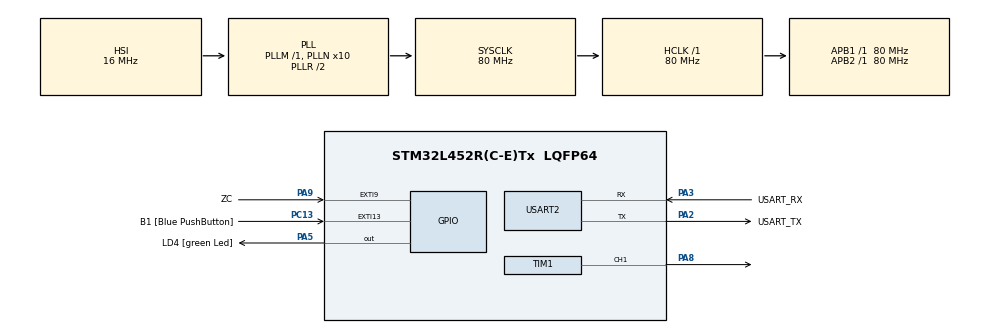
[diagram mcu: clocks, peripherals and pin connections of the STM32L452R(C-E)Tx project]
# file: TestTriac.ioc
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Mcu.Family=STM32L4
Mcu.Name=STM32L452R(C-E)Tx
Mcu.Package=LQFP64
NVIC.EXTI9_5_IRQn=true\:0\:0\:false\:false\:true\:true\:true\:true
NVIC.PriorityGroup=NVIC_PRIORITYGROUP_4
PA13\ (JTMS/SWDIO).GPIO_Label=TMS
PA13\ (JTMS/SWDIO).Mode=Serial_Wire
PA13\ (JTMS/SWDIO).Signal=SYS_JTMS-SWDIO
PA14\ (JTCK/SWCLK).GPIO_Label=TCK
PA14\ (JTCK/SWCLK).Mode=Serial_Wire
PA14\ (JTCK/SWCLK).Signal=SYS_JTCK-SWCLK
PA2.GPIO_Label=USART_TX
PA2.GPIO_Mode=GPIO_MODE_AF_PP
PA2.GPIO_PuPd=GPIO_NOPULL
PA2.GPIO_Speed=GPIO_SPEED_FREQ_VERY_HIGH
PA2.Mode=Asynchronous
PA2.Signal=USART2_TX
PA3.GPIO_Label=USART_RX
PA3.GPIO_Mode=GPIO_MODE_AF_PP
PA3.GPIO_PuPd=GPIO_NOPULL
PA3.GPIO_Speed=GPIO_SPEED_FREQ_VERY_HIGH
PA3.Mode=Asynchronous
PA3.Signal=USART2_RX
PA5.GPIO_Label=LD4 [green Led]
PA5.GPIO_ModeDefaultOutputPP=GPIO_MODE_OUTPUT_PP
PA5.GPIO_PuPd=GPIO_NOPULL
PA5.GPIO_Speed=GPIO_SPEED_FREQ_LOW
PA5.Signal=GPIO_Output
PA8.Signal=S_TIM1_CH1
PA9.GPIO_Label=ZC
PA9.GPIO_ModeDefaultEXTI=GPIO_MODE_IT_RISING_FALLING
PA9.Signal=GPXTI9
PB3\ (JTDO/TRACESWO).GPIO_Label=SWO
PB3\ (JTDO/TRACESWO).Signal=SYS_JTDO-SWO
PC13.GPIO_Label=B1 [Blue PushButton]
PC13.GPIO_ModeDefaultEXTI=GPIO_MODE_IT_FALLING
PC13.GPIO_PuPd=GPIO_NOPULL
PC13.Signal=GPXTI13
PC14-OSC32_IN\ (PC14).Mode=LSE-External-Oscillator
PC14-OSC32_IN\ (PC14).Signal=RCC_OSC32_IN
PC15-OSC32_OUT\ (PC15).Mode=LSE-External-Oscillator
PC15-OSC32_OUT\ (PC15).Signal=RCC_OSC32_OUT
PH0-OSC_IN\ (PH0).Signal=RCC_OSC_IN
PH1-OSC_OUT\ (PH1).Signal=RCC_OSC_OUT
ProjectManager.HeapSize=0x200
ProjectManager.StackSize=0x400
ProjectManager.TargetToolchain=STM32CubeIDE
RCC.ADCFreq_Value=64000000
RCC.AHBFreq_Value=80000000
RCC.APB1Freq_Value=80000000
RCC.APB1TimFreq_Value=80000000
RCC.APB2Freq_Value=80000000
RCC.APB2TimFreq_Value=80000000
RCC.CortexFreq_Value=80000000
RCC.HCLKFreq_Value=80000000
RCC.HSE_VALUE=8000000
RCC.HSI48_VALUE=48000000
RCC.HSI_VALUE=16000000
RCC.MSI_VALUE=4000000
RCC.PLLN=10
RCC.PLLSourceVirtual=RCC_PLLSOURCE_HSI
RCC.PREFETCH_ENABLE=1
RCC.SYSCLKFreq_VALUE=80000000
RCC.SYSCLKSource=RCC_SYSCLKSOURCE_PLLCLK
RCC.USBFreq_Value=64000000
RCC.VCOOutputFreq_Value=160000000
SH.S_TIM1_CH1.0=TIM1_CH1,Output Compare1 CH1
TIM1.AutoReloadPreload=TIM_AUTORELOAD_PRELOAD_DISABLE
TIM1.Channel-Output\ Compare1\ CH1=TIM_CHANNEL_1
TIM1.Period=9900-1
TIM1.Prescaler=80-1
TIM1.Pulse-Output\ Compare1\ CH1=2500-1
TIM1.TIM_MasterOutputTrigger=TIM_TRGO_UPDATE
TIM1.TIM_MasterOutputTrigger2=TIM_TRGO2_UPDATE
USART2.VirtualMode-Asynchronous=VM_ASYNC
VP_TIM1_VS_OPM.Mode=OPM_bit
board=NUCLEO-L452RE

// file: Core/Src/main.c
/* USER CODE BEGIN Header */
/**
  ******************************************************************************
  * @file           : main.c
  * @brief          : Main program body
  ******************************************************************************
  * @attention
  *
  * Copyright (c) 2022 STMicroelectronics.
  * All rights reserved.
  *
  * This software is licensed under terms that can be found in the LICENSE file
  * in the root directory of this software component.
  * If no LICENSE file comes with this software, it is provided AS-IS.
  *
  ******************************************************************************
  */
/* USER CODE END Header */
#include "main.h"

/* USER CODE BEGIN PM */
uint16_t alpha_lut[] = { 10000, 9465, 9325, 9227, 9148, 9082, 9024, 8972, 8924, 8880, 8840, 8801,
8765, 8731, 8699, 8668, 8638, 8610, 8582, 8556, 8530, 8505, 8481, 8458, 8435, 8413, 8391, 8370,
8350, 8330, 8310, 8291, 8272, 8253, 8235, 8217, 8199, 8182, 8165, 8148, 8132, 8116, 8100, 8084,
8069, 8053, 8038, 8023, 8009, 7994, 7980, 7966, 7952, 7938, 7924, 7911, 7897, 7884, 7871, 7858,
7845, 7833, 7820, 7808, 7795, 7783, 7771, 7759, 7747, 7735, 7724, 7712, 7701, 7689, 7678, 7667,
7656, 7645, 7634, 7623, 7612, 7601, 7591, 7580, 7569, 7559, 7549, 7538, 7528, 7518, 7508, 7498,
7488, 7478, 7468, 7458, 7449, 7439, 7429, 7420, 7410, 7401, 7392, 7382, 7373, 7364, 7355, 7345,
7336, 7327, 7318, 7309, 7300, 7292, 7283, 7274, 7265, 7256, 7248, 7239, 7231, 7222, 7214, 7205,
7197, 7188, 7180, 7172, 7163, 7155, 7147, 7139, 7131, 7122, 7114, 7106, 7098, 7090, 7082, 7074,
7066, 7059, 7051, 7043, 7035, 7027, 7020, 7012, 7004, 6997, 6989, 6982, 6974, 6966, 6959, 6951,
6944, 6936, 6929, 6922, 6914, 6907, 6900, 6892, 6885, 6878, 6871, 6863, 6856, 6849, 6842, 6835,
6828, 6821, 6814, 6806, 6799, 6792, 6785, 6778, 6772, 6765, 6758, 6751, 6744, 6737, 6730, 6723,
6717, 6710, 6703, 6696, 6690, 6683, 6676, 6670, 6663, 6656, 6650, 6643, 6636, 6630, 6623, 6617,
6610, 6604, 6597, 6591, 6584, 6578, 6571, 6565, 6558, 6552, 6545, 6539, 6533, 6526, 6520, 6514,
6507, 6501, 6495, 6488, 6482, 6476, 6470, 6463, 6457, 6451, 6445, 6439, 6432, 6426, 6420, 6414,
6408, 6402, 6396, 6390, 6383, 6377, 6371, 6365, 6359, 6353, 6347, 6341, 6335, 6329, 6323, 6317,
6311, 6305, 6299, 6293, 6288, 6282, 6276, 6270, 6264, 6258, 6252, 6246, 6240, 6235, 6229, 6223,
6217, 6211, 6206, 6200, 6194, 6188, 6182, 6177, 6171, 6165, 6160, 6154, 6148, 6142, 6137, 6131,
6125, 6120, 6114, 6108, 6103, 6097, 6091, 6086, 6080, 6074, 6069, 6063, 6058, 6052, 6046, 6041,
6035, 6030, 6024, 6019, 6013, 6008, 6002, 5996, 5991, 5985, 5980, 5974, 5969, 5963, 5958, 5952,
5947, 5942, 5936, 5931, 5925, 5920, 5914, 5909, 5903, 5898, 5893, 5887, 5882, 5876, 5871, 5866,
5860, 5855, 5849, 5844, 5839, 5833, 5828, 5823, 5817, 5812, 5807, 5801, 5796, 5791, 5785, 5780,
5775, 5769, 5764, 5759, 5753, 5748, 5743, 5738, 5732, 5727, 5722, 5717, 5711, 5706, 5701, 5695,
5690, 5685, 5680, 5675, 5669, 5664, 5659, 5654, 5648, 5643, 5638, 5633, 5628, 5622, 5617, 5612,
5607, 5602, 5596, 5591, 5586, 5581, 5576, 5571, 5565, 5560, 5555, 5550, 5545, 5540, 5535, 5529,
5524, 5519, 5514, 5509, 5504, 5499, 5493, 5488, 5483, 5478, 5473, 5468, 5463, 5458, 5453, 5447,
5442, 5437, 5432, 5427, 5422, 5417, 5412, 5407, 5402, 5397, 5391, 5386, 5381, 5376, 5371, 5366,
5361, 5356, 5351, 5346, 5341, 5336, 5331, 5326, 5321, 5316, 5310, 5305, 5300, 5295, 5290, 5285,
5280, 5275, 5270, 5265, 5260, 5255, 5250, 5245, 5240, 5235, 5230, 5225, 5220, 5215, 5210, 5205,
5200, 5195, 5190, 5185, 5180, 5175, 5170, 5165, 5160, 5155, 5150, 5145, 5140, 5135, 5130, 5125,
5120, 5115, 5110, 5105, 5100, 5095, 5090, 5085, 5080, 5075, 5070, 5065, 5060, 5055, 5050, 5045,
5040, 5035, 5030, 5025, 5020, 5015, 5010, 5005, 5000, 4994, 4989, 4984, 4979, 4974, 4969, 4964,
4959, 4954, 4949, 4944, 4939, 4934, 4929, 4924, 4919, 4914, 4909, 4904, 4899, 4894, 4889, 4884,
4879, 4874, 4869, 4864, 4859, 4854, 4849, 4844, 4839, 4834, 4829, 4824, 4819, 4814, 4809, 4804,
4799, 4794, 4789, 4784, 4779, 4774, 4769, 4764, 4759, 4754, 4749, 4744, 4739, 4734, 4729, 4724,
4719, 4714, 4709, 4704, 4699, 4694, 4689, 4683, 4678, 4673, 4668, 4663, 4658, 4653, 4648, 4643,
4638, 4633, 4628, 4623, 4618, 4613, 4608, 4602, 4597, 4592, 4587, 4582, 4577, 4572, 4567, 4562,
4557, 4552, 4546, 4541, 4536, 4531, 4526, 4521, 4516, 4511, 4506, 4500, 4495, 4490, 4485, 4480,
4475, 4470, 4464, 4459, 4454, 4449, 4444, 4439, 4434, 4428, 4423, 4418, 4413, 4408, 4403, 4397,
4392, 4387, 4382, 4377, 4371, 4366, 4361, 4356, 4351, 4345, 4340, 4335, 4330, 4324, 4319, 4314,
4309, 4304, 4298, 4293, 4288, 4282, 4277, 4272, 4267, 4261, 4256, 4251, 4246, 4240, 4235, 4230,
4224, 4219, 4214, 4208, 4203, 4198, 4192, 4187, 4182, 4176, 4171, 4166, 4160, 4155, 4150, 4144,
4139, 4133, 4128, 4123, 4117, 4112, 4106, 4101, 4096, 4090, 4085, 4079, 4074, 4068, 4063, 4057,
4052, 4047, 4041, 4036, 4030, 4025, 4019, 4014, 4008, 4003, 3997, 3991, 3986, 3980, 3975, 3969,
3964, 3958, 3953, 3947, 3941, 3936, 3930, 3925, 3919, 3913, 3908, 3902, 3896, 3891, 3885, 3879,
3874, 3868, 3862, 3857, 3851, 3845, 3839, 3834, 3828, 3822, 3817, 3811, 3805, 3799, 3793, 3788,
3782, 3776, 3770, 3764, 3759, 3753, 3747, 3741, 3735, 3729, 3723, 3717, 3711, 3706, 3700, 3694,
3688, 3682, 3676, 3670, 3664, 3658, 3652, 3646, 3640, 3634, 3628, 3622, 3616, 3609, 3603, 3597,
3591, 3585, 3579, 3573, 3567, 3560, 3554, 3548, 3542, 3536, 3529, 3523, 3517, 3511, 3504, 3498,
3492, 3485, 3479, 3473, 3466, 3460, 3454, 3447, 3441, 3434, 3428, 3421, 3415, 3408, 3402, 3395,
3389, 3382, 3376, 3369, 3363, 3356, 3349, 3343, 3336, 3329, 3323, 3316, 3309, 3303, 3296, 3289,
3282, 3276, 3269, 3262, 3255, 3248, 3241, 3234, 3227, 3221, 3214, 3207, 3200, 3193, 3185, 3178,
3171, 3164, 3157, 3150, 3143, 3136, 3128, 3121, 3114, 3107, 3099, 3092, 3085, 3077, 3070, 3063,
3055, 3048, 3040, 3033, 3025, 3017, 3010, 3002, 2995, 2987, 2979, 2972, 2964, 2956, 2948, 2940,
2933, 2925, 2917, 2909, 2901, 2893, 2885, 2877, 2868, 2860, 2852, 2844, 2836, 2827, 2819, 2811,
2802, 2794, 2785, 2777, 2768, 2760, 2751, 2743, 2734, 2725, 2716, 2707, 2699, 2690, 2681, 2672,
2663, 2654, 2644, 2635, 2626, 2617, 2607, 2598, 2589, 2579, 2570, 2560, 2550, 2541, 2531, 2521,
2511, 2501, 2491, 2481, 2471, 2461, 2450, 2440, 2430, 2419, 2408, 2398, 2387, 2376, 2365, 2354,
2343, 2332, 2321, 2310, 2298, 2287, 2275, 2264, 2252, 2240, 2228, 2216, 2204, 2191, 2179, 2166,
2154, 2141, 2128, 2115, 2102, 2088, 2075, 2061, 2047, 2033, 2019, 2005, 1990, 1976, 1961, 1946,
1930, 1915, 1899, 1883, 1867, 1851, 1834, 1817, 1800, 1782, 1764, 1746, 1727, 1708, 1689, 1669,
1649, 1629, 1608, 1586, 1564, 1541, 1518, 1494, 1469, 1443, 1417, 1389, 1361, 1331, 1300, 1268,
1234, 1198, 1159, 1119, 1075, 1027, 975, 917, 851, 772, 674, 534, 0 };

#define TRIAC_PULSE_WIDTH  100  // Duration of TRIAC trigger pulse in �s

void timer1_init( void )
{
   __HAL_RCC_TIM1_CLK_ENABLE(); // Enable Timer 1 clock
   TIM1->CR1   = 0x0088;        // Auto-reload, One-Pulse-Mode
   TIM1->CR2   = 0x0000;        // Idle-state configuration
   TIM1->SMCR  = 0x0066;        // Trigger-Mode, Timer input 2
   TIM1->DIER  = 0x0000;        // Disable interrupts
   TIM1->SR    = 0x0000;        // Clear status register
   TIM1->EGR   = 0x0000;        // Clear event generation register
   TIM1->CCMR1 = 0x0178;        // OC1: PWM2-Mode, Preload, IC2: IC2 on TI2
   TIM1->CCMR2 = 0x0000;        // OC3/OC4, IC3/IC4 off
   TIM1->CCER  = 0x00A1;        // OC1: On, AH; IC2: On, Both edges
   TIM1->CNT   = 0;             // Clear timer 1 counter
   TIM1->PSC   = 168-1;         // Set prescaler to 168
   TIM1->ARR   = 0x0000;        // Initialize Auto-reload register
   TIM1->RCR   = 0x0000;        // Clear repetition counter
   TIM1->CCR1  = 0x0000;        // Initialize Capture/Compare register 1
   TIM1->CCR2  = 0x0000;        // Clear Capture/Compare register 2
   TIM1->CCR3  = 0x0000;        // Clear Capture/Compare register 3
   TIM1->CCR4  = 0x0000;        // Clear Capture/Compare register 4
   TIM1->BDTR  = 0x8000;        // Main output enable
   TIM1->DCR   = 0x0000;        // Clear DMA configuration (DMA not needed)
   // TIM1->DMAR = ......;      // DO NOT WRITE TO THIS REGISTER!
   TIM1->CR1  |= 0x0001;        // Timer 1 Enable
}

void gpio_init( void )
{
   __HAL_RCC_GPIOE_CLK_ENABLE();    // Enable GPIOE clock
   GPIOE->MODER   = 0x00880000;     // Enable PE9/PE11 alternate function mode
   GPIOE->AFR[1]  = 0x00001010;     // Select PE9/PE11 alternate function AF1
   GPIOE->AFR[0]  = 0x00000000;     // Clear AFRL
   GPIOE->OTYPER  = 0x00000000;     // Set all outputs to push-pull mode (default)
   GPIOE->OSPEEDR = 0x00000000;     // Set all outputs to low-speed (default)
   GPIOE->PUPDR   = 0x00000000;     // Disable all pull-ups and pull-downs
}

void set_alpha( int alpha )
{
   TIM1->CCR1 = alpha;
   TIM1->ARR = alpha + TRIAC_PULSE_WIDTH;
}
/* USER CODE END PM */

TIM_HandleTypeDef htim1;

UART_HandleTypeDef huart2;

void SystemClock_Config(void);
static void MX_GPIO_Init(void);
static void MX_USART2_UART_Init(void);
static void MX_TIM1_Init(void);

/* USER CODE BEGIN 0 */
uint32_t globalCounter = 0;
char msg[30] = {"\0"};
/* USER CODE END 0 */

int main(void)
{
  /* USER CODE BEGIN 1 */
	int alpha, power;

  /* USER CODE END 1 */

  /* MCU Configuration--------------------------------------------------------*/

  /* Reset of all peripherals, Initializes the Flash interface and the Systick. */
  HAL_Init();

  /* Configure the system clock */
  SystemClock_Config();

  /* Initialize all configured peripherals */
  MX_GPIO_Init();
  MX_USART2_UART_Init();
  MX_TIM1_Init();
  /* USER CODE BEGIN 2 */
  HAL_TIM_OC_Start(&htim1, TIM_CHANNEL_1);

  power = 20;                   // Set output power (1000=100%)
  alpha = alpha_lut[ power ];    // Get alpha from LUT
  set_alpha( alpha );            // Generate alpha on output

char msg2[20] = "Hola Mundo\n\r";
HAL_UART_Transmit(&huart2, (uint8_t *)msg2, sizeof(msg2), 100);

  /* USER CODE END 2 */

  /* Infinite loop */
  while (1)
  {

  }
}

void SystemClock_Config(void)
{
  RCC_OscInitTypeDef RCC_OscInitStruct = {0};
  RCC_ClkInitTypeDef RCC_ClkInitStruct = {0};

  /** Configure the main internal regulator output voltage
  */
  if (HAL_PWREx_ControlVoltageScaling(PWR_REGULATOR_VOLTAGE_SCALE1) != HAL_OK)
  {
    Error_Handler();
  }

  /** Initializes the RCC Oscillators according to the specified parameters
  * in the RCC_OscInitTypeDef structure.
  */
  RCC_OscInitStruct.OscillatorType = RCC_OSCILLATORTYPE_HSI;
  RCC_OscInitStruct.HSIState = RCC_HSI_ON;
  RCC_OscInitStruct.HSICalibrationValue = RCC_HSICALIBRATION_DEFAULT;
  RCC_OscInitStruct.PLL.PLLState = RCC_PLL_ON;
  RCC_OscInitStruct.PLL.PLLSource = RCC_PLLSOURCE_HSI;
  RCC_OscInitStruct.PLL.PLLM = 1;
  RCC_OscInitStruct.PLL.PLLN = 10;
  RCC_OscInitStruct.PLL.PLLP = RCC_PLLP_DIV7;
  RCC_OscInitStruct.PLL.PLLQ = RCC_PLLQ_DIV2;
  RCC_OscInitStruct.PLL.PLLR = RCC_PLLR_DIV2;
  if (HAL_RCC_OscConfig(&RCC_OscInitStruct) != HAL_OK)
  {
    Error_Handler();
  }

  /** Initializes the CPU, AHB and APB buses clocks
  */
  RCC_ClkInitStruct.ClockType = RCC_CLOCKTYPE_HCLK|RCC_CLOCKTYPE_SYSCLK
                              |RCC_CLOCKTYPE_PCLK1|RCC_CLOCKTYPE_PCLK2;
  RCC_ClkInitStruct.SYSCLKSource = RCC_SYSCLKSOURCE_PLLCLK;
  RCC_ClkInitStruct.AHBCLKDivider = RCC_SYSCLK_DIV1;
  RCC_ClkInitStruct.APB1CLKDivider = RCC_HCLK_DIV1;
  RCC_ClkInitStruct.APB2CLKDivider = RCC_HCLK_DIV1;

  if (HAL_RCC_ClockConfig(&RCC_ClkInitStruct, FLASH_LATENCY_4) != HAL_OK)
  {
    Error_Handler();
  }
}

static void MX_TIM1_Init(void)
{

  TIM_MasterConfigTypeDef sMasterConfig = {0};
  TIM_OC_InitTypeDef sConfigOC = {0};
  TIM_BreakDeadTimeConfigTypeDef sBreakDeadTimeConfig = {0};

  htim1.Instance = TIM1;
  htim1.Init.Prescaler = 80-1;
  htim1.Init.CounterMode = TIM_COUNTERMODE_UP;
  htim1.Init.Period = 9900-1;
  htim1.Init.ClockDivision = TIM_CLOCKDIVISION_DIV1;
  htim1.Init.RepetitionCounter = 0;
  htim1.Init.AutoReloadPreload = TIM_AUTORELOAD_PRELOAD_DISABLE;
  if (HAL_TIM_OC_Init(&htim1) != HAL_OK)
  {
    Error_Handler();
  }
  if (HAL_TIM_OnePulse_Init(&htim1, TIM_OPMODE_SINGLE) != HAL_OK)
  {
    Error_Handler();
  }
  sMasterConfig.MasterOutputTrigger = TIM_TRGO_UPDATE;
  sMasterConfig.MasterOutputTrigger2 = TIM_TRGO2_UPDATE;
  sMasterConfig.MasterSlaveMode = TIM_MASTERSLAVEMODE_DISABLE;
  if (HAL_TIMEx_MasterConfigSynchronization(&htim1, &sMasterConfig) != HAL_OK)
  {
    Error_Handler();
  }
  sConfigOC.OCMode = TIM_OCMODE_TIMING;
  sConfigOC.Pulse = 2500-1;
  sConfigOC.OCPolarity = TIM_OCPOLARITY_HIGH;
  sConfigOC.OCNPolarity = TIM_OCNPOLARITY_HIGH;
  sConfigOC.OCFastMode = TIM_OCFAST_DISABLE;
  sConfigOC.OCIdleState = TIM_OCIDLESTATE_RESET;
  sConfigOC.OCNIdleState = TIM_OCNIDLESTATE_RESET;
  if (HAL_TIM_OC_ConfigChannel(&htim1, &sConfigOC, TIM_CHANNEL_1) != HAL_OK)
  {
    Error_Handler();
  }
  sBreakDeadTimeConfig.OffStateRunMode = TIM_OSSR_DISABLE;
  sBreakDeadTimeConfig.OffStateIDLEMode = TIM_OSSI_DISABLE;
  sBreakDeadTimeConfig.LockLevel = TIM_LOCKLEVEL_OFF;
  sBreakDeadTimeConfig.DeadTime = 0;
  sBreakDeadTimeConfig.BreakState = TIM_BREAK_DISABLE;
  sBreakDeadTimeConfig.BreakPolarity = TIM_BREAKPOLARITY_HIGH;
  sBreakDeadTimeConfig.BreakFilter = 0;
  sBreakDeadTimeConfig.Break2State = TIM_BREAK2_DISABLE;
  sBreakDeadTimeConfig.Break2Polarity = TIM_BREAK2POLARITY_HIGH;
  sBreakDeadTimeConfig.Break2Filter = 0;
  sBreakDeadTimeConfig.AutomaticOutput = TIM_AUTOMATICOUTPUT_DISABLE;
  if (HAL_TIMEx_ConfigBreakDeadTime(&htim1, &sBreakDeadTimeConfig) != HAL_OK)
  {
    Error_Handler();
  }
  HAL_TIM_MspPostInit(&htim1);

}

static void MX_USART2_UART_Init(void)
{

  huart2.Instance = USART2;
  huart2.Init.BaudRate = 115200;
  huart2.Init.WordLength = UART_WORDLENGTH_8B;
  huart2.Init.StopBits = UART_STOPBITS_1;
  huart2.Init.Parity = UART_PARITY_NONE;
  huart2.Init.Mode = UART_MODE_TX_RX;
  huart2.Init.HwFlowCtl = UART_HWCONTROL_NONE;
  huart2.Init.OverSampling = UART_OVERSAMPLING_16;
  huart2.Init.OneBitSampling = UART_ONE_BIT_SAMPLE_DISABLE;
  huart2.AdvancedInit.AdvFeatureInit = UART_ADVFEATURE_NO_INIT;
  if (HAL_UART_Init(&huart2) != HAL_OK)
  {
    Error_Handler();
  }

}

static void MX_GPIO_Init(void)
{
  GPIO_InitTypeDef GPIO_InitStruct = {0};

  /* GPIO Ports Clock Enable */
  __HAL_RCC_GPIOC_CLK_ENABLE();
  __HAL_RCC_GPIOH_CLK_ENABLE();
  __HAL_RCC_GPIOA_CLK_ENABLE();
  __HAL_RCC_GPIOB_CLK_ENABLE();

  /*Configure GPIO pin Output Level */
  HAL_GPIO_WritePin(LD4_GPIO_Port, LD4_Pin, GPIO_PIN_RESET);

  /*Configure GPIO pin : B1_Pin */
  GPIO_InitStruct.Pin = B1_Pin;
  GPIO_InitStruct.Mode = GPIO_MODE_IT_FALLING;
  GPIO_InitStruct.Pull = GPIO_NOPULL;
  HAL_GPIO_Init(B1_GPIO_Port, &GPIO_InitStruct);

  /*Configure GPIO pin : LD4_Pin */
  GPIO_InitStruct.Pin = LD4_Pin;
  GPIO_InitStruct.Mode = GPIO_MODE_OUTPUT_PP;
  GPIO_InitStruct.Pull = GPIO_NOPULL;
  GPIO_InitStruct.Speed = GPIO_SPEED_FREQ_LOW;
  HAL_GPIO_Init(LD4_GPIO_Port, &GPIO_InitStruct);

  /*Configure GPIO pin : ZC_Pin */
  GPIO_InitStruct.Pin = ZC_Pin;
  GPIO_InitStruct.Mode = GPIO_MODE_IT_RISING_FALLING;
  GPIO_InitStruct.Pull = GPIO_NOPULL;
  HAL_GPIO_Init(ZC_GPIO_Port, &GPIO_InitStruct);

  /* EXTI interrupt init*/
  HAL_NVIC_SetPriority(EXTI9_5_IRQn, 0, 0);
  HAL_NVIC_EnableIRQ(EXTI9_5_IRQn);

}

/* USER CODE BEGIN 4 */

void HAL_GPIO_EXTI_Callback( uint16_t GPIO_Pin)
{
	if(GPIO_Pin == ZC_Pin){
	   //This block will be triggered after pin activated.
		globalCounter++;
		sprintf(msg, "%d \r\n", globalCounter);
		int i = 0;
		  for(i = 0; i < sizeof(msg); i++){
			  if(msg[i] == '\0'){
				  break;
			  }
		  }
		HAL_UART_Transmit(&huart2, (uint8_t *)msg, i, 100);
	}
	else{
		//Do not do anything when else.
		__NOP();
	}
}

/* USER CODE END 4 */

void Error_Handler(void)
{
  __disable_irq();
  while (1)
  {
  }
}
